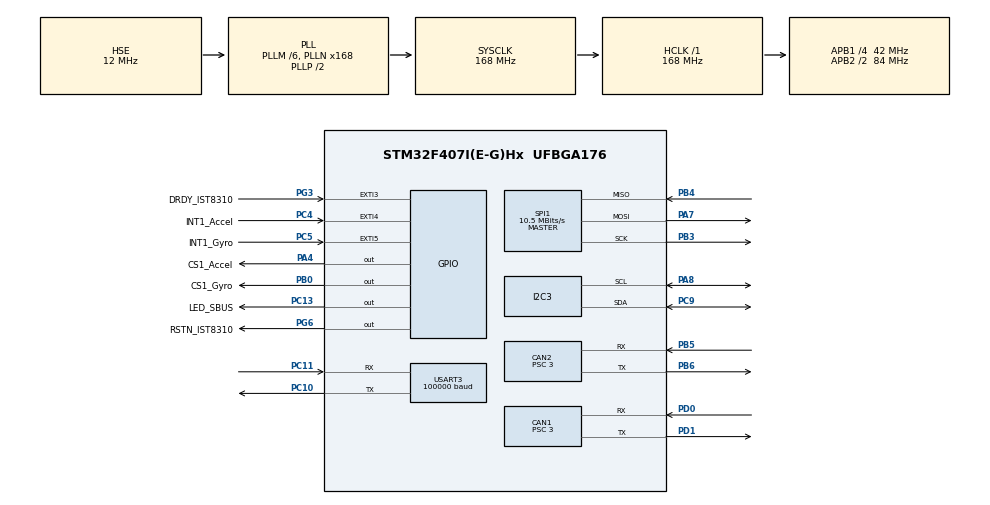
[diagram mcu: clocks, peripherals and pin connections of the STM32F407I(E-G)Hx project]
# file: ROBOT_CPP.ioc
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CAN1.ABOM=ENABLE
CAN1.BS1=CAN_BS1_11TQ
CAN1.BS2=CAN_BS2_2TQ
CAN1.CalculateBaudRate=1000000
CAN1.CalculateTimeBit=1000
CAN1.CalculateTimeQuantum=71.42857142857143
CAN1.NART=ENABLE
CAN1.Prescaler=3
CAN2.ABOM=ENABLE
CAN2.BS1=CAN_BS1_11TQ
CAN2.BS2=CAN_BS2_2TQ
CAN2.CalculateBaudRate=1000000
CAN2.CalculateTimeBit=1000
CAN2.CalculateTimeQuantum=71.42857142857143
CAN2.NART=ENABLE
CAN2.Prescaler=3
Dma.I2C3_RX.1.Direction=DMA_PERIPH_TO_MEMORY
Dma.I2C3_RX.1.FIFOMode=DMA_FIFOMODE_DISABLE
Dma.I2C3_RX.1.Instance=DMA1_Stream2
Dma.I2C3_RX.1.MemDataAlignment=DMA_MDATAALIGN_BYTE
Dma.I2C3_RX.1.MemInc=DMA_MINC_ENABLE
Dma.I2C3_RX.1.Mode=DMA_NORMAL
Dma.I2C3_RX.1.PeriphDataAlignment=DMA_PDATAALIGN_BYTE
Dma.I2C3_RX.1.PeriphInc=DMA_PINC_DISABLE
Dma.I2C3_RX.1.Priority=DMA_PRIORITY_LOW
Dma.I2C3_TX.2.Direction=DMA_MEMORY_TO_PERIPH
Dma.I2C3_TX.2.FIFOMode=DMA_FIFOMODE_DISABLE
Dma.I2C3_TX.2.Instance=DMA1_Stream4
Dma.I2C3_TX.2.MemDataAlignment=DMA_MDATAALIGN_BYTE
Dma.I2C3_TX.2.MemInc=DMA_MINC_ENABLE
Dma.I2C3_TX.2.Mode=DMA_NORMAL
Dma.I2C3_TX.2.PeriphDataAlignment=DMA_PDATAALIGN_BYTE
Dma.I2C3_TX.2.PeriphInc=DMA_PINC_DISABLE
Dma.I2C3_TX.2.Priority=DMA_PRIORITY_LOW
Dma.Request0=USART3_RX
Dma.Request1=I2C3_RX
Dma.Request2=I2C3_TX
Dma.Request3=SPI1_TX
Dma.Request4=SPI1_RX
Dma.SPI1_RX.4.Direction=DMA_PERIPH_TO_MEMORY
Dma.SPI1_RX.4.FIFOMode=DMA_FIFOMODE_DISABLE
Dma.SPI1_RX.4.Instance=DMA2_Stream0
Dma.SPI1_RX.4.MemDataAlignment=DMA_MDATAALIGN_BYTE
Dma.SPI1_RX.4.MemInc=DMA_MINC_ENABLE
Dma.SPI1_RX.4.Mode=DMA_NORMAL
Dma.SPI1_RX.4.PeriphDataAlignment=DMA_PDATAALIGN_BYTE
Dma.SPI1_RX.4.PeriphInc=DMA_PINC_DISABLE
Dma.SPI1_RX.4.Priority=DMA_PRIORITY_HIGH
Dma.SPI1_TX.3.Direction=DMA_MEMORY_TO_PERIPH
Dma.SPI1_TX.3.FIFOMode=DMA_FIFOMODE_DISABLE
Dma.SPI1_TX.3.Instance=DMA2_Stream3
Dma.SPI1_TX.3.MemDataAlignment=DMA_MDATAALIGN_BYTE
Dma.SPI1_TX.3.MemInc=DMA_MINC_ENABLE
Dma.SPI1_TX.3.Mode=DMA_NORMAL
Dma.SPI1_TX.3.PeriphDataAlignment=DMA_PDATAALIGN_BYTE
Dma.SPI1_TX.3.PeriphInc=DMA_PINC_DISABLE
Dma.SPI1_TX.3.Priority=DMA_PRIORITY_HIGH
Dma.USART3_RX.0.Direction=DMA_PERIPH_TO_MEMORY
Dma.USART3_RX.0.FIFOMode=DMA_FIFOMODE_DISABLE
Dma.USART3_RX.0.Instance=DMA1_Stream1
Dma.USART3_RX.0.MemDataAlignment=DMA_MDATAALIGN_BYTE
Dma.USART3_RX.0.MemInc=DMA_MINC_ENABLE
Dma.USART3_RX.0.Mode=DMA_CIRCULAR
Dma.USART3_RX.0.PeriphDataAlignment=DMA_PDATAALIGN_BYTE
Dma.USART3_RX.0.PeriphInc=DMA_PINC_DISABLE
Dma.USART3_RX.0.Priority=DMA_PRIORITY_LOW
FREERTOS.Tasks01=defaultTask,24,128,StartDefaultTask,Default,NULL,Dynamic,NULL,NULL
I2C3.I2C_Mode=I2C_Fast
Mcu.Family=STM32F4
Mcu.Name=STM32F407I(E-G)Hx
Mcu.Package=UFBGA176
NVIC.CAN1_RX0_IRQn=true\:5\:0\:false\:false\:true\:true\:true\:true\:true
NVIC.CAN2_RX0_IRQn=true\:5\:0\:false\:false\:true\:true\:true\:true\:true
NVIC.DMA1_Stream1_IRQn=true\:5\:0\:false\:false\:true\:true\:false\:true\:true
NVIC.DMA1_Stream2_IRQn=true\:5\:0\:false\:false\:true\:true\:false\:true\:true
NVIC.DMA1_Stream4_IRQn=true\:5\:0\:false\:false\:true\:true\:false\:true\:true
NVIC.DMA2_Stream0_IRQn=true\:5\:0\:false\:false\:true\:true\:false\:true\:true
NVIC.DMA2_Stream3_IRQn=true\:5\:0\:false\:false\:true\:true\:false\:true\:true
NVIC.EXTI4_IRQn=true\:5\:0\:false\:false\:true\:true\:true\:true\:true
NVIC.EXTI9_5_IRQn=true\:5\:0\:false\:false\:true\:true\:true\:true\:true
NVIC.I2C3_ER_IRQn=true\:5\:0\:false\:false\:true\:true\:true\:true\:true
NVIC.I2C3_EV_IRQn=true\:5\:0\:false\:false\:true\:true\:true\:true\:true
NVIC.PriorityGroup=NVIC_PRIORITYGROUP_4
NVIC.TIM1_CC_IRQn=true\:5\:0\:false\:false\:true\:true\:true\:true\:true
NVIC.TIM1_UP_TIM10_IRQn=true\:5\:0\:false\:false\:true\:true\:true\:true\:true
NVIC.TIM7_IRQn=true\:15\:0\:false\:false\:true\:false\:false\:true\:true
NVIC.TimeBase=TIM7_IRQn
NVIC.TimeBaseIP=TIM7
NVIC.USART3_IRQn=true\:5\:0\:false\:false\:true\:true\:true\:true\:true
PA13.Mode=Serial_Wire
PA13.Signal=SYS_JTMS-SWDIO
PA14.Mode=Serial_Wire
PA14.Signal=SYS_JTCK-SWCLK
PA4.GPIO_Label=CS1_Accel
PA4.GPIO_Speed=GPIO_SPEED_FREQ_VERY_HIGH
PA4.PinState=GPIO_PIN_SET
PA4.Signal=GPIO_Output
PA7.Mode=Full_Duplex_Master
PA7.Signal=SPI1_MOSI
PA8.Mode=I2C
PA8.Signal=I2C3_SCL
PB0.GPIO_Label=CS1_Gyro
PB0.GPIO_Speed=GPIO_SPEED_FREQ_VERY_HIGH
PB0.PinState=GPIO_PIN_SET
PB0.Signal=GPIO_Output
PB3.Mode=Full_Duplex_Master
PB3.Signal=SPI1_SCK
PB4.Mode=Full_Duplex_Master
PB4.Signal=SPI1_MISO
PB5.Mode=CAN_Activate
PB5.Signal=CAN2_RX
PB6.Mode=CAN_Activate
PB6.Signal=CAN2_TX
PC10.Mode=Asynchronous
PC10.Signal=USART3_TX
PC11.Mode=Asynchronous
PC11.Signal=USART3_RX
PC13.GPIO_Label=LED_SBUS
PC13.GPIO_Speed=GPIO_SPEED_FREQ_LOW
PC13.PinState=GPIO_PIN_RESET
PC13.Signal=GPIO_Output
PC4.GPIO_Label=INT1_Accel
PC4.Signal=GPXTI4
PC5.GPIO_Label=INT1_Gyro
PC5.Signal=GPXTI5
PC9.Mode=I2C
PC9.Signal=I2C3_SDA
PD0.Mode=CAN_Activate
PD0.Signal=CAN1_RX
PD1.Mode=CAN_Activate
PD1.Signal=CAN1_TX
PG3.GPIO_Label=DRDY_IST8310
PG3.Signal=GPXTI3
PG6.GPIO_Label=RSTN_IST8310
PG6.PinState=GPIO_PIN_SET
PG6.Signal=GPIO_Output
PH0-OSC_IN.Mode=HSE-External-Oscillator
PH0-OSC_IN.Signal=RCC_OSC_IN
PH1-OSC_OUT.Mode=HSE-External-Oscillator
PH1-OSC_OUT.Signal=RCC_OSC_OUT
ProjectManager.HeapSize=0x200
ProjectManager.StackSize=0x400
ProjectManager.TargetToolchain=CMake
RCC.48MHZClocksFreq_Value=84000000
RCC.AHBFreq_Value=168000000
RCC.APB1CLKDivider=RCC_HCLK_DIV4
RCC.APB1Freq_Value=42000000
RCC.APB1TimFreq_Value=84000000
RCC.APB2CLKDivider=RCC_HCLK_DIV2
RCC.APB2Freq_Value=84000000
RCC.APB2TimFreq_Value=168000000
RCC.CortexFreq_Value=168000000
RCC.EnbaleCSS=true
RCC.HCLKFreq_Value=168000000
RCC.HSE_VALUE=12000000
RCC.HSI_VALUE=16000000
RCC.LSE_VALUE=32768
RCC.PLLM=6
RCC.PLLN=168
RCC.PLLSourceVirtual=RCC_PLLSOURCE_HSE
RCC.SYSCLKFreq_VALUE=168000000
RCC.SYSCLKSource=RCC_SYSCLKSOURCE_PLLCLK
RCC.VCOOutputFreq_Value=336000000
SPI1.BaudRatePrescaler=SPI_BAUDRATEPRESCALER_8
SPI1.CLKPhase=SPI_PHASE_1EDGE
SPI1.CLKPolarity=SPI_POLARITY_LOW
SPI1.CalculateBaudRate=10.5 MBits/s
SPI1.Direction=SPI_DIRECTION_2LINES
SPI1.Mode=SPI_MODE_MASTER
SPI1.VirtualType=VM_MASTER
TIM1.AutoReloadPreload=TIM_AUTORELOAD_PRELOAD_ENABLE
TIM1.Channel-Output\ Compare1\ No\ Output=TIM_CHANNEL_1
TIM1.Period=65535
TIM1.Prescaler=168-1
USART3.BaudRate=100000
USART3.Mode=MODE_RX
USART3.Parity=PARITY_EVEN
USART3.StopBits=STOPBITS_1
USART3.VirtualMode=VM_ASYNC
USART3.WordLength=WORDLENGTH_9B
VP_FREERTOS_VS_CMSIS_V2.Mode=CMSIS_V2
VP_SYS_VS_tim7.Mode=TIM7
VP_TIM1_VS_ClockSourceINT.Mode=Internal
VP_TIM1_VS_no_output1.Mode=Output Compare1 No Output
board=custom

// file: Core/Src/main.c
/* USER CODE BEGIN Header */
/**
  ******************************************************************************
  * @file           : main.c
  * @brief          : Main program body
  ******************************************************************************
  * @attention
  *
  * Copyright (c) 2025 STMicroelectronics.
  * All rights reserved.
  *
  * This software is licensed under terms that can be found in the LICENSE file
  * in the root directory of this software component.
  * If no LICENSE file comes with this software, it is provided AS-IS.
  *
  ******************************************************************************
  */
/* USER CODE END Header */
#include "main.h"
#include "cmsis_os.h"
#include "can.h"
#include "dma.h"
#include "i2c.h"
#include "spi.h"
#include "tim.h"
#include "usart.h"
#include "gpio.h"

/* USER CODE BEGIN PV */
extern osThreadId_t controlTaskHandle;

static volatile uint32_t g_tim1_overflow_u16;
static volatile uint32_t g_tim1_ts_seq;
static volatile uint64_t g_tim1_last_ts_us;
static volatile uint16_t g_tim1_last_cnt;
static volatile uint16_t g_tim1_next_ccr1;

/* USER CODE END PV */

void SystemClock_Config(void);
void MX_FREERTOS_Init(void);

int main(void)
{

  /* MCU Configuration--------------------------------------------------------*/

  /* Reset of all peripherals, Initializes the Flash interface and the Systick. */
  HAL_Init();

  /* Configure the system clock */
  SystemClock_Config();

  /* Initialize all configured peripherals */
  MX_GPIO_Init();
  MX_DMA_Init();
  MX_TIM1_Init();
  MX_CAN1_Init();
  MX_CAN2_Init();
  MX_USART3_UART_Init();
  MX_SPI1_Init();
  MX_I2C3_Init();
  /* USER CODE BEGIN 2 */
  /* TIM1 schedule timer is started in RTOS control task (after kernel start). */

  /* USER CODE END 2 */

  /* Init scheduler */
  osKernelInitialize();  /* Call init function for freertos objects (in cmsis_os2.c) */
  MX_FREERTOS_Init();

  /* Start scheduler */
  osKernelStart();

  /* We should never get here as control is now taken by the scheduler */

  /* Infinite loop */
  while (1)
  {

  }
}

void SystemClock_Config(void)
{
  RCC_OscInitTypeDef RCC_OscInitStruct = {0};
  RCC_ClkInitTypeDef RCC_ClkInitStruct = {0};

  /** Configure the main internal regulator output voltage
  */
  __HAL_RCC_PWR_CLK_ENABLE();
  __HAL_PWR_VOLTAGESCALING_CONFIG(PWR_REGULATOR_VOLTAGE_SCALE1);

  /** Initializes the RCC Oscillators according to the specified parameters
  * in the RCC_OscInitTypeDef structure.
  */
  RCC_OscInitStruct.OscillatorType = RCC_OSCILLATORTYPE_HSE;
  RCC_OscInitStruct.HSEState = RCC_HSE_ON;
  RCC_OscInitStruct.PLL.PLLState = RCC_PLL_ON;
  RCC_OscInitStruct.PLL.PLLSource = RCC_PLLSOURCE_HSE;
  RCC_OscInitStruct.PLL.PLLM = 6;
  RCC_OscInitStruct.PLL.PLLN = 168;
  RCC_OscInitStruct.PLL.PLLP = RCC_PLLP_DIV2;
  RCC_OscInitStruct.PLL.PLLQ = 4;
  if (HAL_RCC_OscConfig(&RCC_OscInitStruct) != HAL_OK)
  {
    Error_Handler();
  }

  /** Initializes the CPU, AHB and APB buses clocks
  */
  RCC_ClkInitStruct.ClockType = RCC_CLOCKTYPE_HCLK|RCC_CLOCKTYPE_SYSCLK
                              |RCC_CLOCKTYPE_PCLK1|RCC_CLOCKTYPE_PCLK2;
  RCC_ClkInitStruct.SYSCLKSource = RCC_SYSCLKSOURCE_PLLCLK;
  RCC_ClkInitStruct.AHBCLKDivider = RCC_SYSCLK_DIV1;
  RCC_ClkInitStruct.APB1CLKDivider = RCC_HCLK_DIV4;
  RCC_ClkInitStruct.APB2CLKDivider = RCC_HCLK_DIV2;

  if (HAL_RCC_ClockConfig(&RCC_ClkInitStruct, FLASH_LATENCY_5) != HAL_OK)
  {
    Error_Handler();
  }

  /** Enables the Clock Security System
  */
  HAL_RCC_EnableCSS();
}

/* USER CODE BEGIN 4 */
void HAL_TIM_OC_DelayElapsedCallback(TIM_HandleTypeDef *htim)
{
  if ((htim->Instance != TIM1) || (htim->Channel != HAL_TIM_ACTIVE_CHANNEL_1)) {
    return;
  }

  const uint16_t cnt = __HAL_TIM_GET_COUNTER(htim);
  const uint64_t timestamp_us = (((uint64_t)g_tim1_overflow_u16) << 16) | (uint64_t)cnt;

  g_tim1_ts_seq++;
  g_tim1_last_ts_us = timestamp_us;
  g_tim1_last_cnt = cnt;
  g_tim1_ts_seq++;

  uint16_t next_ccr = (uint16_t)(g_tim1_next_ccr1 + 1000U);
  while ((int16_t)(next_ccr - cnt) <= 0) {
    next_ccr = (uint16_t)(next_ccr + 1000U);
  }
  g_tim1_next_ccr1 = next_ccr;
  __HAL_TIM_SET_COMPARE(htim, TIM_CHANNEL_1, next_ccr);

  if (controlTaskHandle != NULL) {
    (void)osThreadFlagsSet(controlTaskHandle, APP_CONTROL_TICK_FLAG);
  }
}

void App_Tim1_SchedulerStart(void)
{
  g_tim1_overflow_u16 = 0;
  g_tim1_ts_seq = 0;
  g_tim1_last_ts_us = 0;
  g_tim1_last_cnt = 0;
  g_tim1_next_ccr1 = 1000U;

  __HAL_TIM_DISABLE(&htim1);
  __HAL_TIM_SET_COUNTER(&htim1, 0);
  __HAL_TIM_SET_COMPARE(&htim1, TIM_CHANNEL_1, g_tim1_next_ccr1);
  __HAL_TIM_CLEAR_FLAG(&htim1, TIM_FLAG_UPDATE);
  __HAL_TIM_CLEAR_FLAG(&htim1, TIM_FLAG_CC1);

  (void)HAL_TIM_Base_Start_IT(&htim1);
  (void)HAL_TIM_OC_Start_IT(&htim1, TIM_CHANNEL_1);
}

uint64_t App_Tim1_LastTimestampUs(void)
{
  while (1) {
    const uint32_t seq1 = g_tim1_ts_seq;
    const uint64_t ts = g_tim1_last_ts_us;
    const uint32_t seq2 = g_tim1_ts_seq;
    if ((seq1 == seq2) && ((seq1 & 1U) == 0U)) {
      return ts;
    }
  }
}

/* USER CODE END 4 */

void HAL_TIM_PeriodElapsedCallback(TIM_HandleTypeDef *htim)
{
  /* USER CODE BEGIN Callback 0 */
  if (htim->Instance == TIM1) {
        g_tim1_overflow_u16++;
    }

  /* USER CODE END Callback 0 */
  if (htim->Instance == TIM7)
  {
    HAL_IncTick();
  }
}

void Error_Handler(void)
{
  __disable_irq();
  while (1)
  {
  }
}

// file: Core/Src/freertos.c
/* USER CODE BEGIN Header */
/**
  ******************************************************************************
  * File Name          : freertos.c
  * Description        : Code for freertos applications
  ******************************************************************************
  * @attention
  *
  * Copyright (c) 2025 STMicroelectronics.
  * All rights reserved.
  *
  * This software is licensed under terms that can be found in the LICENSE file
  * in the root directory of this software component.
  * If no LICENSE file comes with this software, it is provided AS-IS.
  *
  ******************************************************************************
  */
/* USER CODE END Header */

#include "FreeRTOS.h"
#include "task.h"
#include "main.h"
#include "cmsis_os.h"

/* USER CODE BEGIN Includes */
#include "app_bridge.h"
#include "app_can.h"
#include "app_params.h"
#include "can.h"
#include "usart.h"

/* USER CODE END Includes */

/* USER CODE BEGIN Variables */
osThreadId_t controlTaskHandle;
const osThreadAttr_t controlTask_attributes = {
  .name = "controlTask",
  .stack_size = 1024 * 4,
  .priority = (osPriority_t) osPriorityHigh,
};

volatile uint64_t g_control_last_ts_us;
volatile uint32_t g_control_dt_us;
volatile int32_t g_control_jitter_us;

osThreadId_t sensorTaskHandle;
const osThreadAttr_t sensorTask_attributes = {
  .name = "sensorTask",
  .stack_size = 512 * 4,
  .priority = (osPriority_t) osPriorityAboveNormal,
};

osThreadId_t sbusTaskHandle;
const osThreadAttr_t sbusTask_attributes = {
  .name = "sbusTask",
  .stack_size = 512 * 4,
  .priority = (osPriority_t) osPriorityAboveNormal,
};

osThreadId_t logicTaskHandle;
const osThreadAttr_t logicTask_attributes = {
  .name = "logicTask",
  .stack_size = 512 * 4,
  .priority = (osPriority_t) osPriorityAboveNormal,
};

osThreadId_t canDebugTaskHandle;
const osThreadAttr_t canDebugTask_attributes = {
  .name = "canDebugTask",
  .stack_size = 256 * 4,
  .priority = (osPriority_t) osPriorityIdle,
};

osThreadId_t jointTrimTaskHandle;
const osThreadAttr_t jointTrimTask_attributes = {
  .name = "jointTrimTask",
  .stack_size = 512 * 4,
  .priority = (osPriority_t) osPriorityLow,
};

volatile uint8_t g_app_can2_dbg_enable = 1;
volatile uint16_t g_app_can2_dbg_std_id = 0x04;
volatile uint16_t g_app_can2_dbg_ids[4] = {1U, 2U, 3U, 4U};
volatile uint8_t g_app_can2_dbg_dlc = 8;
volatile uint8_t g_app_can2_dbg_data[8] = {0xFF, 0xFF, 0xFF, 0xFF, 0xFF, 0xFF, 0xFF, 0xFC};
volatile uint32_t g_app_can2_dbg_period_ms = 100;
volatile uint32_t g_app_can2_dbg_sent = 0;
volatile uint32_t g_app_can2_dbg_failed = 0;

/* USER CODE END Variables */
/* Definitions for defaultTask */
osThreadId_t defaultTaskHandle;
const osThreadAttr_t defaultTask_attributes = {
  .name = "defaultTask",
  .stack_size = 128 * 4,
  .priority = (osPriority_t) osPriorityNormal,
};

/* USER CODE BEGIN FunctionPrototypes */
void StartControlTask(void *argument);
void StartSensorTask(void *argument);
void StartSbusTask(void *argument);
void StartLogicTask(void *argument);
void StartCanDebugTask(void *argument);
void StartJointTrimTask(void *argument);

/* USER CODE END FunctionPrototypes */

void StartDefaultTask(void *argument);

void MX_FREERTOS_Init(void); /* (MISRA C 2004 rule 8.1) */

void MX_FREERTOS_Init(void) {

  /* Create the thread(s) */
  /* creation of defaultTask */
  defaultTaskHandle = osThreadNew(StartDefaultTask, NULL, &defaultTask_attributes);

  /* USER CODE BEGIN RTOS_THREADS */
  controlTaskHandle = osThreadNew(StartControlTask, NULL, &controlTask_attributes);
  sensorTaskHandle = osThreadNew(StartSensorTask, NULL, &sensorTask_attributes);
  sbusTaskHandle = osThreadNew(StartSbusTask, NULL, &sbusTask_attributes);
  logicTaskHandle = osThreadNew(StartLogicTask, NULL, &logicTask_attributes);
  canDebugTaskHandle = osThreadNew(StartCanDebugTask, NULL, &canDebugTask_attributes);
  jointTrimTaskHandle = osThreadNew(StartJointTrimTask, NULL, &jointTrimTask_attributes);
  /* USER CODE END RTOS_THREADS */

}

void StartDefaultTask(void *argument)
{
  for(;;)
  {
    osDelay(1);
  }
}

/* USER CODE BEGIN Application */
void StartControlTask(void *argument)
{
  (void)argument;

  App_Tim1_SchedulerStart();
  RobotApp_Init();

  uint64_t last_ts = 0;
  for (;;)
  {
    (void)osThreadFlagsWait(APP_CONTROL_TICK_FLAG, osFlagsWaitAny, osWaitForever);
    g_control_last_ts_us = App_Tim1_LastTimestampUs();
    if (last_ts != 0) {
      g_control_dt_us = (uint32_t)(g_control_last_ts_us - last_ts);
      g_control_jitter_us = (int32_t)g_control_dt_us - 1000;
    }
    last_ts = g_control_last_ts_us;
    RobotApp_ControlTick(g_control_last_ts_us);
  }
}

void StartCanDebugTask(void *argument)
{
  (void)argument;
  for (;;)
  {
    if (g_app_can2_dbg_enable != 0U)
    {
      static const uint8_t enable_data[8] = {0xFF, 0xFF, 0xFF, 0xFF,
                                             0xFF, 0xFF, 0xFF, 0xFC};
      static uint8_t idx = 0U;

      uint16_t std_id = 0U;
      for (uint8_t k = 0; k < 4U; ++k)
      {
        const uint8_t probe = (uint8_t)((idx + k) & 0x03U);
        const uint16_t cand = g_app_can2_dbg_ids[probe];
        if (cand != 0U)
        {
          std_id = cand;
          idx = (uint8_t)((probe + 1U) & 0x03U);
          break;
        }
      }

      if (std_id != 0U)
      {
        g_robotapp_dm_enable_tx_last_std_id = std_id;
        if (std_id >= 1U && std_id <= 4U)
        {
          const uint8_t m = (uint8_t)(std_id - 1U);
          g_robotapp_dm_enable_tx_attempt[m] += 1U;
          if (App_Can_Tx(2U, std_id, enable_data, 8U) != 0U)
          {
            g_robotapp_dm_enable_tx_started[m] += 1U;
            g_app_can2_dbg_sent += 1U;
          }
          else
          {
            g_app_can2_dbg_failed += 1U;
          }
        }
        else
        {
          if (App_Can_Tx(2U, std_id, enable_data, 8U) != 0U)
            g_app_can2_dbg_sent += 1U;
          else
            g_app_can2_dbg_failed += 1U;
        }
      }
    }

    uint32_t period_ms = g_app_can2_dbg_period_ms;
    if (period_ms == 0U) period_ms = 1U;
    osDelay(period_ms);
  }
}

/* StartLogicTask is implemented in C++ (RobotApp/Tasks/logic_task.cpp). */
/* StartSbusTask is implemented in C++ (RobotApp/Tasks/sbus_task.cpp). */

/* USER CODE END Application */
